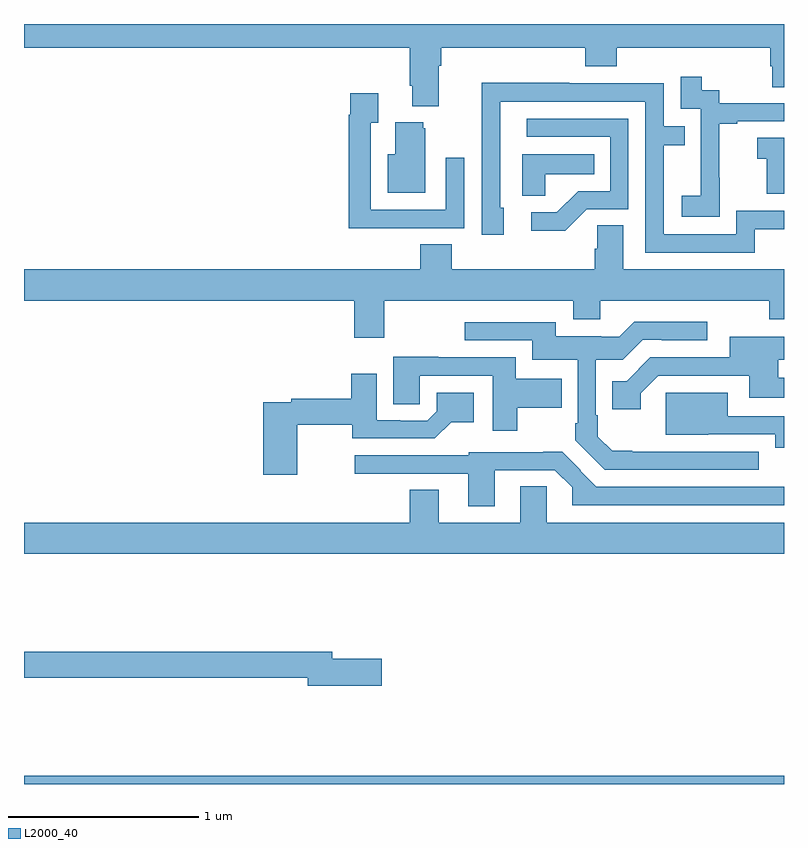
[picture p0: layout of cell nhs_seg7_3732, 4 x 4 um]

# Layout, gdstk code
import gdstk
lib = gdstk.Library(unit=1e-6, precision=1e-09)
def R(c, l, rs):  # rectangles x0, y0, x1, y1
    for r in rs: c.add(gdstk.rectangle(r[:2], r[2:], *l))
def P(c, l, *ps):  # polygons
    for p in ps: c.add(gdstk.Polygon(p, *l))
L2000_40 = (2000, 40)

nhs_seg7_3732 = lib.new_cell('nhs_seg7_3732')
R(nhs_seg7_3732, L2000_40, [(347,1070,351,1070.044)])
P(nhs_seg7_3732, L2000_40, [(349.183,1073.78),(349.196,1073.78),(349.196,1073.876),(349.955,1073.876),(349.955,1073.777),(350.12,1073.777),(350.12,1073.876),(350.927,1073.876),(350.927,1073.778),(350.939,1073.778),(350.939,1073.668),(351,1073.668),(351,1074),(347,1074),(347,1073.876),(349.031,1073.876),(349.031,1073.674),(349.043,1073.674),(349.043,1073.567),(349.183,1073.567)],
  [(350.661,1073.191),(350.66,1073.191),(350.66,1073.475),(350.755,1073.475),(350.755,1073.487),(351,1073.487),(351,1073.583),(350.658,1073.583),(350.658,1073.652),(350.566,1073.652),(350.566,1073.722),(350.457,1073.722),(350.457,1073.553),(350.562,1073.553),(350.562,1073.324),(350.561,1073.324),(350.561,1073.095),(350.463,1073.095),(350.463,1072.985),(350.661,1072.985)],
  [(350.845,1072.92),(351,1072.92),(351,1073.016),(350.748,1073.016),(350.748,1072.893),(350.367,1072.893),(350.367,1073.362),(350.477,1073.362),(350.477,1073.463),(350.367,1073.463),(350.367,1073.688),(349.871,1073.688),(349.871,1073.69),(349.408,1073.69),(349.408,1073.383),(349.41,1073.383),(349.41,1072.89),(349.525,1072.89),(349.525,1073.034),(349.506,1073.034),(349.506,1073.592),(350.271,1073.592),(350.271,1072.797),(350.845,1072.797)],
  [(349.001,1072.926),(349.317,1072.926),(349.317,1073.296),(349.221,1073.296),(349.221,1073.022),(348.825,1073.022),(348.825,1073.479),(348.865,1073.479),(348.865,1073.635),(348.717,1073.635),(348.717,1073.522),(348.709,1073.522),(348.709,1072.925),(349.001,1072.925)],
  [(349.962,1073.025),(350.181,1073.025),(350.181,1073.502),(349.647,1073.502),(349.647,1073.406),(350.085,1073.406),(350.085,1073.121),(349.916,1073.121),(349.805,1073.01),(349.671,1073.01),(349.671,1072.913),(349.849,1072.913)],
  [(349.111,1073.451),(349.1,1073.451),(349.1,1073.482),(348.953,1073.482),(348.953,1073.314),(348.914,1073.314),(348.914,1073.111),(349.111,1073.111)],
  [(351,1073.401),(350.859,1073.401),(350.859,1073.291),(350.908,1073.291),(350.908,1073.106),(351,1073.106)],
  [(349.743,1073.21),(350,1073.21),(350,1073.314),(349.622,1073.314),(349.622,1073.095),(349.743,1073.095)],
  [(348.897,1072.544),(349.892,1072.544),(349.892,1072.445),(350.032,1072.445),(350.032,1072.544),(350.923,1072.544),(350.923,1072.445),(351,1072.445),(351,1072.708),(350.155,1072.708),(350.155,1072.94),(350.016,1072.94),(350.016,1072.817),(350.003,1072.817),(350.003,1072.708),(349.25,1072.708),(349.25,1072.841),(349.085,1072.841),(349.085,1072.708),(347,1072.708),(347,1072.544),(348.737,1072.544),(348.737,1072.35),(348.897,1072.35)],
  [(350.866,1071.75),(350.2,1071.75),(350.2,1071.753),(350.096,1071.753),(350.02,1071.828),(350.02,1071.94),(350.01,1071.94),(350.01,1072.233),(350.151,1072.233),(350.256,1072.338),(350.356,1072.338),(350.356,1072.335),(350.596,1072.335),(350.596,1072.432),(350.212,1072.432),(350.133,1072.353),(350.039,1072.353),(350.039,1072.357),(349.798,1072.357),(349.798,1072.431),(349.32,1072.431),(349.32,1072.335),(349.676,1072.335),(349.676,1072.232),(349.914,1072.232),(349.914,1071.898),(349.902,1071.898),(349.902,1071.809),(350.057,1071.654),(350.866,1071.654)],
  [(350.245,1072.057),(350.337,1072.149),(350.816,1072.149),(350.816,1072.034),(351,1072.034),(351,1072.138),(350.969,1072.138),(350.969,1072.232),(351,1072.232),(351,1072.354),(350.714,1072.354),(350.714,1072.245),(350.297,1072.245),(350.172,1072.12),(350.095,1072.12),(350.095,1071.972),(350.245,1071.972)],
  [(349.596,1071.98),(349.829,1071.98),(349.829,1072.132),(349.588,1072.132),(349.588,1072.245),(349.18,1072.245),(349.18,1072.25),(348.944,1072.25),(348.944,1072),(349.083,1072),(349.083,1072.149),(349.466,1072.149),(349.466,1071.858),(349.596,1071.858)],
  [(348.438,1071.892),(348.727,1071.892),(348.727,1071.819),(349.162,1071.819),(349.248,1071.905),(349.366,1071.905),(349.366,1072.06),(349.173,1072.06),(349.173,1071.963),(349.122,1071.912),(348.98,1071.912),(348.98,1071.915),(348.856,1071.915),(348.856,1072.159),(348.722,1072.159),(348.722,1072.028),(348.406,1072.028),(348.406,1072.008),(348.26,1072.008),(348.26,1071.627),(348.438,1071.627)],
  [(351,1071.936),(350.704,1071.936),(350.704,1072.06),(350.378,1072.06),(350.378,1071.839),(350.6,1071.839),(350.6,1071.84),(350.954,1071.84),(350.954,1071.77),(351,1071.77)],
  [(349.477,1071.651),(349.794,1071.651),(349.885,1071.561),(349.885,1071.468),(351,1071.468),(351,1071.564),(350.013,1071.564),(349.928,1071.649),(349.931,1071.652),(349.833,1071.75),(349.733,1071.75),(349.733,1071.747),(349.341,1071.747),(349.341,1071.729),(348.741,1071.729),(348.741,1071.633),(349.337,1071.633),(349.337,1071.462),(349.477,1071.462)],
  [(351,1071.376),(349.752,1071.376),(349.752,1071.566),(349.613,1071.566),(349.613,1071.376),(349.183,1071.376),(349.183,1071.548),(349.031,1071.548),(349.031,1071.376),(347,1071.376),(347,1071.212),(351,1071.212)],
  [(348.883,1070.66),(348.622,1070.66),(348.622,1070.696),(347,1070.696),(347,1070.56),(348.494,1070.56),(348.494,1070.518),(348.883,1070.518)])

lib.write_gds('nhs_seg7_3732.gds')
